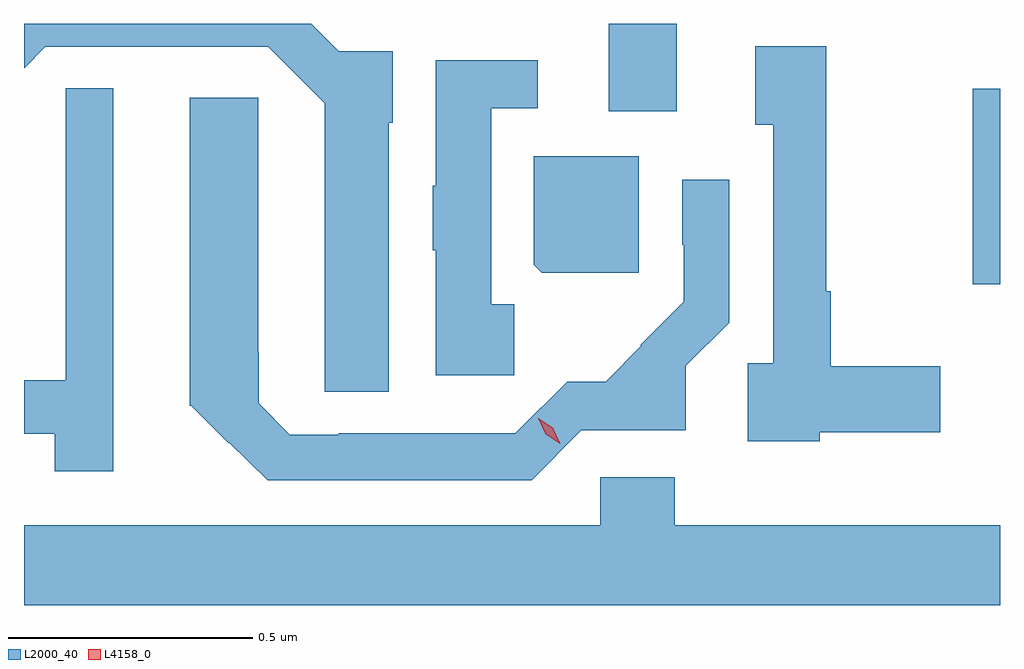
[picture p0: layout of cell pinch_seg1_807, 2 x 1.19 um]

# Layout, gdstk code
import gdstk
lib = gdstk.Library(unit=1e-6, precision=1e-09)
def R(c, l, rs):  # rectangles x0, y0, x1, y1
    for r in rs: c.add(gdstk.rectangle(r[:2], r[2:], *l))
def P(c, l, *ps):  # polygons
    for p in ps: c.add(gdstk.Polygon(p, *l))
L2000_40 = (2000, 40)
L4158_0 = (4158, 0)

pinch_seg1_807 = lib.new_cell('pinch_seg1_807')
R(pinch_seg1_807, L2000_40, [(538.981,573.701,539.037,574.102), (538.235,574.056,538.375,574.235)])
P(pinch_seg1_807, L2000_40, [(537.784,574.032),(537.793,574.032),(537.793,574.179),(537.682,574.179),(537.626,574.235),(537.037,574.235),(537.037,574.144),(537.081,574.188),(537.537,574.188),(537.653,574.072),(537.653,573.481),(537.784,573.481)],
  [(538.668,573.398),(538.915,573.398),(538.915,573.533),(538.69,573.533),(538.69,573.687),(538.681,573.687),(538.681,574.189),(538.535,574.189),(538.535,574.028),(538.572,574.028),(538.572,573.54),(538.52,573.54),(538.52,573.38),(538.668,573.38)],
  [(538.042,573.66),(537.994,573.66),(537.994,574.062),(538.09,574.062),(538.09,574.16),(537.881,574.16),(537.881,573.903),(537.875,573.903),(537.875,573.771),(537.881,573.771),(537.881,573.515),(538.042,573.515)],
  [(537.22,574.103),(537.123,574.103),(537.123,573.505),(537.037,573.505),(537.037,573.395),(537.1,573.395),(537.1,573.318),(537.22,573.318)],
  [(538.179,573.402),(538.393,573.402),(538.393,573.534),(538.482,573.623),(538.482,573.916),(538.386,573.916),(538.386,573.782),(538.389,573.782),(538.389,573.666),(538.3,573.577),(538.302,573.575),(538.229,573.502),(538.15,573.502),(538.044,573.396),(537.682,573.396),(537.682,573.393),(537.582,573.393),(537.518,573.458),(537.518,573.562),(537.517,573.562),(537.517,574.084),(537.377,574.084),(537.377,573.453),(537.38,573.453),(537.457,573.376),(537.458,573.377),(537.536,573.3),(538.077,573.3)],
  [(538.297,573.964),(538.082,573.964),(538.082,573.741),(538.098,573.725),(538.297,573.725)],
  [(539.037,573.208),(538.37,573.208),(538.37,573.306),(538.218,573.306),(538.218,573.208),(537.037,573.208),(537.037,573.044),(539.037,573.044)])
P(pinch_seg1_807, L4158_0, [(538.136,573.375),(538.106,573.394),(538.091,573.427),(538.091,573.427),(538.091,573.427),(538.121,573.407),(538.136,573.375),(538.136,573.375)])

lib.write_gds('pinch_seg1_807.gds')
